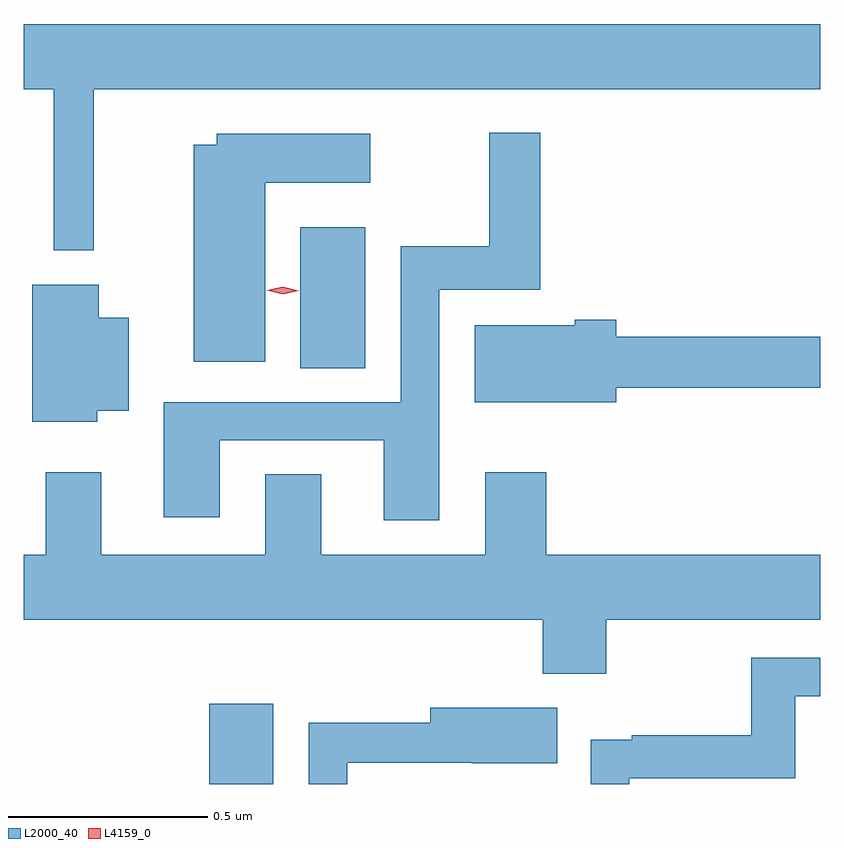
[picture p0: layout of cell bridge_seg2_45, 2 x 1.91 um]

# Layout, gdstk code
import gdstk
lib = gdstk.Library(unit=1e-6, precision=1e-09)
def R(c, l, rs):  # rectangles x0, y0, x1, y1
    for r in rs: c.add(gdstk.rectangle(r[:2], r[2:], *l))
def P(c, l, *ps):  # polygons
    for p in ps: c.add(gdstk.Polygon(p, *l))
L2000_40 = (2000, 40)
L4159_0 = (4159, 0)

bridge_seg2_45 = lib.new_cell('bridge_seg2_45')
R(bridge_seg2_45, L2000_40, [(1085.324,661.876,1085.485,662.077), (1085.552,662.92,1085.716,663.274)])
P(bridge_seg2_45, L2000_40, [(1085.034,663.62),(1086.858,663.62),(1086.858,663.784),(1084.858,663.784),(1084.858,663.62),(1084.934,663.62),(1084.934,663.216),(1085.034,663.216)],
  [(1085.901,663.117),(1086.155,663.117),(1086.155,663.511),(1086.027,663.511),(1086.027,663.226),(1085.805,663.226),(1085.805,662.835),(1085.21,662.835),(1085.21,662.546),(1085.35,662.546),(1085.35,662.739),(1085.762,662.739),(1085.762,662.538),(1085.901,662.538)],
  [(1085.464,663.386),(1085.728,663.386),(1085.728,663.508),(1085.343,663.508),(1085.343,663.481),(1085.285,663.481),(1085.285,662.936),(1085.464,662.936)],
  [(1085.043,662.813),(1085.122,662.813),(1085.122,663.046),(1085.047,663.046),(1085.047,663.13),(1084.88,663.13),(1084.88,662.786),(1085.043,662.786)],
  [(1086.346,662.871),(1086.858,662.871),(1086.858,662.999),(1086.346,662.999),(1086.346,663.041),(1086.242,663.041),(1086.242,663.028),(1085.99,663.028),(1085.99,662.834),(1086.346,662.834)],
  [(1086.321,662.288),(1086.858,662.288),(1086.858,662.452),(1086.17,662.452),(1086.17,662.659),(1086.017,662.659),(1086.017,662.452),(1085.605,662.452),(1085.605,662.654),(1085.465,662.654),(1085.465,662.452),(1085.053,662.452),(1085.053,662.659),(1084.913,662.659),(1084.913,662.452),(1084.858,662.452),(1084.858,662.288),(1086.161,662.288),(1086.161,662.153),(1086.321,662.153)],
  [(1086.378,661.89),(1086.795,661.89),(1086.795,662.096),(1086.858,662.096),(1086.858,662.193),(1086.684,662.193),(1086.684,661.999),(1086.385,661.999),(1086.385,661.987),(1086.282,661.987),(1086.282,661.876),(1086.378,661.876)],
  [(1085.67,661.929),(1085.983,661.929),(1085.983,661.928),(1086.197,661.928),(1086.197,662.068),(1085.879,662.068),(1085.879,662.03),(1085.574,662.03),(1085.574,661.876),(1085.67,661.876)])
P(bridge_seg2_45, L4159_0, [(1085.508,663.105),(1085.468,663.115),(1085.468,663.115),(1085.468,663.115),(1085.508,663.124),(1085.548,663.114),(1085.548,663.114),(1085.548,663.114)])

lib.write_gds('bridge_seg2_45.gds')
